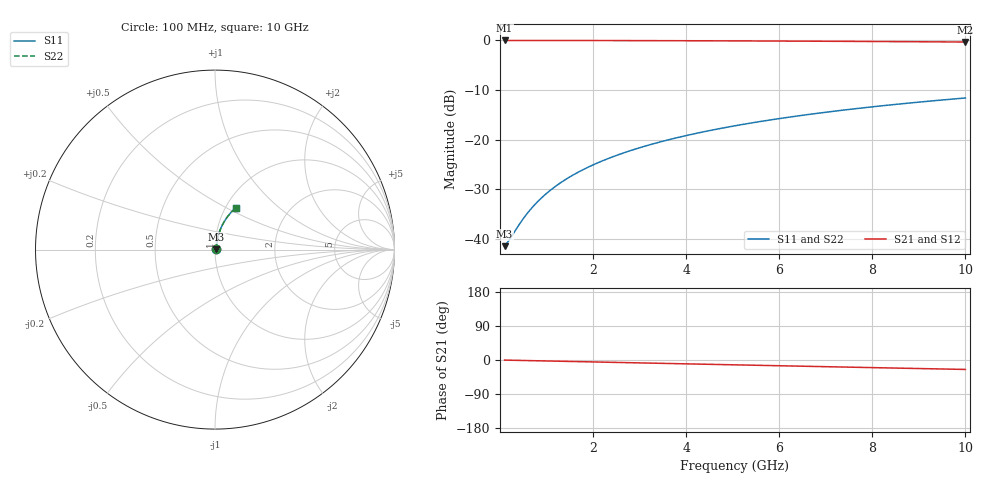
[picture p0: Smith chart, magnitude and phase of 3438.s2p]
# Hz S RI R 50.00
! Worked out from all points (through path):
!   100 points, 100 MHz to 10 GHz, reference 50 ohm
!   highest |S21| = -0.07 dB at 100 MHz (marker M1); lowest = -0.4 dB at 10 GHz (marker M2)
!   group delay of S21, straight-line fit = 6.93 ps
!   lowest |S11| = -41.4 dB at 100 MHz (marker M3), VSWR 1.02, Z = 50.8 + j0.277 ohm
!   |S11| at or under -10 dB: start of sweep to end of sweep
!   |S22| runs from -41.4 to -11.6 dB; largest |S21 - S12| = 0
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1e8  0.00806 0.00273  0.9919 -0.00441  0.9919 -0.00441  0.00806 0.00273
2e8  0.00815 0.00545  0.9918 -0.00881  0.9918 -0.00881  0.00815 0.00545
4e8  0.00837 0.0109  0.9916 -0.0176  0.9916 -0.0176  0.00837 0.0109
5e8  0.0085 0.0136  0.9915 -0.022  0.9915 -0.022  0.0085 0.0136
6e8  0.00866 0.0164  0.9913 -0.0264  0.9913 -0.0264  0.00866 0.0164
7e8  0.00884 0.0191  0.9911 -0.0308  0.9911 -0.0308  0.00884 0.0191
9e8  0.00926 0.0245  0.9906 -0.0396  0.9906 -0.0396  0.00926 0.0245
1.1e9  0.00978 0.0299  0.99 -0.0484  0.99 -0.0484  0.00978 0.0299
1.3e9  0.0104 0.0353  0.9894 -0.0572  0.9894 -0.0572  0.0104 0.0353
1.5e9  0.0111 0.0407  0.9886 -0.0659  0.9886 -0.0659  0.0111 0.0407
1.8e9  0.0123 0.0488  0.9872 -0.079  0.9872 -0.079  0.0123 0.0488
2.1e9  0.0138 0.0568  0.9856 -0.0921  0.9856 -0.0921  0.0138 0.0568
2.5e9  0.016 0.0675  0.9831 -0.1095  0.9831 -0.1095  0.016 0.0675
2.9e9  0.0186 0.078  0.9802 -0.1267  0.9802 -0.1267  0.0186 0.078
3.4e9  0.0224 0.091  0.9759 -0.1481  0.9759 -0.1481  0.0224 0.091
4.2e9  0.0296 0.1113  0.9678 -0.182  0.9678 -0.182  0.0296 0.1113
5.1e9  0.0393 0.1335  0.9569 -0.2193  0.9569 -0.2193  0.0393 0.1335
5.9e9  0.0493 0.1523  0.9456 -0.2517  0.9456 -0.2517  0.0493 0.1523
6.7e9  0.0606 0.1703  0.9329 -0.2832  0.9329 -0.2832  0.0606 0.1703
7.5e9  0.073 0.1874  0.9188 -0.3139  0.9188 -0.3139  0.073 0.1874
8.4e9  0.0882 0.2054  0.9016 -0.3472  0.9016 -0.3472  0.0882 0.2054
1e10  0.118 0.2341  0.8674 -0.4031  0.8674 -0.4031  0.118 0.2341
